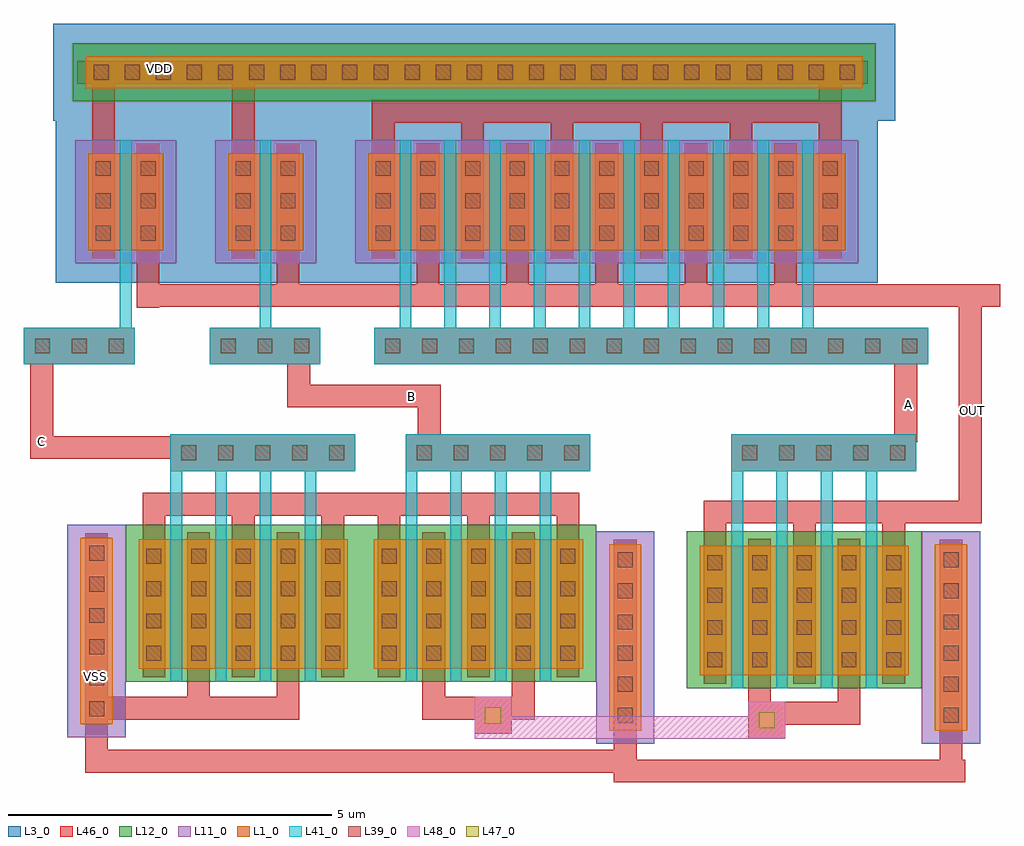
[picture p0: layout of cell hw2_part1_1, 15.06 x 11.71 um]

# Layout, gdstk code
from math import pi, radians
import gdstk
lib = gdstk.Library(unit=1e-6, precision=1e-09)
def R(c, l, rs):  # rectangles x0, y0, x1, y1
    for r in rs: c.add(gdstk.rectangle(r[:2], r[2:], *l))
L1_0 = (1, 0)
L3_0 = (3, 0)
L11_0 = (11, 0)
L12_0 = (12, 0)
L39_0 = (39, 0)
L41_0 = (41, 0)
L46_0 = (46, 0)
L47_0 = (47, 0)
L48_0 = (48, 0)

via1 = lib.new_cell('VIA1')
R(via1, L46_0, [(-0.295,-0.295,0.275,0.275)])
R(via1, L47_0, [(-0.135,-0.135,0.115,0.115)])
R(via1, L48_0, [(-0.295,-0.295,0.275,0.275)])

pmos_body = lib.new_cell('pmos_body')
R(pmos_body, L1_0, [(-0.305,-0.355,0.175,0.145)])
R(pmos_body, L3_0, [(-0.805,-0.855,0.675,0.645)])
R(pmos_body, L12_0, [(-0.505,-0.555,0.375,0.345)])
R(pmos_body, L39_0, [(-0.18,-0.22,0.05,0.01)])
R(pmos_body, L46_0, [(-0.433,-0.28,0.247,0.07)])

mental1_connect = lib.new_cell('mental1_connect')
R(mental1_connect, L46_0, [(0.875,-0.297,1.225,0.108), (-0.505,-0.292,-0.155,0.108), (-0.505,0.108,1.225,0.458)])

finger_connect = lib.new_cell('finger_connect')
R(finger_connect, L39_0, [(-3.01,-1.32,-2.78,-1.09)])
R(finger_connect, L41_0, [(-3.18,-1.49,-2.61,-0.92)])
R(finger_connect, L46_0, [(-3.18,-1.49,-2.61,-0.92)])

nmos_body = lib.new_cell('nmos_body')
R(nmos_body, L1_0, [(-0.22,-0.185,0.26,0.315)])
R(nmos_body, L11_0, [(-0.42,-0.385,0.46,0.515)])
R(nmos_body, L39_0, [(-0.095,-0.05,0.135,0.18)])
R(nmos_body, L46_0, [(-0.348,-0.11,0.332,0.24)])

nmos_small = lib.new_cell('nmos_small')
R(nmos_small, L1_0, [(-3.8,0.175,-2.64,0.675)])
R(nmos_small, L12_0, [(-4,-0.045,-2.44,0.875)])
R(nmos_small, L39_0, [(-3.68,0.325,-3.45,0.555), (-2.99,0.325,-2.76,0.555)])
R(nmos_small, L41_0, [(-3.31,-1.025,-3.13,0.875)])
R(nmos_small, L46_0, [(-3.74,0.073,-3.39,0.808), (-3.05,0.073,-2.7,0.808)])

pmos_small = lib.new_cell('pmos_small')
R(pmos_small, L1_0, [(-0.57,-0.225,0.59,0.275)])
R(pmos_small, L3_0, [(-1.07,-0.725,1.09,0.775)])
R(pmos_small, L11_0, [(-0.77,-0.425,0.79,0.475)])
R(pmos_small, L39_0, [(-0.45,-0.075,-0.22,0.155), (0.24,-0.075,0.47,0.155)])
R(pmos_small, L41_0, [(-0.08,-1.49,0.1,0.475)])
R(pmos_small, L46_0, [(-0.51,-0.347,-0.16,0.428), (0.18,-0.342,0.53,0.423)])

hw2_part1_1 = lib.new_cell('hw2_part1_1')
hw2_part1_1.add(gdstk.FlexPath([(-2.08,-3.918),(-0.255,-3.918)], 0.35, ends="flush", simple_path=True, layer=46, datatype=0))  # L46_0
hw2_part1_1.add(gdstk.FlexPath([(1.795,-0.767),(2.615,-0.767)], 0.35, ends="flush", simple_path=True, layer=46, datatype=0))  # L46_0
hw2_part1_1.add(gdstk.FlexPath([(6.325,-4.735),(-1.935,-4.735),(-1.935,-3.88)], 0.35, ends="flush", simple_path=True, layer=46, datatype=0))  # L46_0
hw2_part1_1.add(gdstk.FlexPath([(10.35,-0.887),(11.725,-0.887)], 0.35, ends="flush", simple_path=True, layer=46, datatype=0))  # L46_0
hw2_part1_1.add(gdstk.FlexPath([(11.55,-1.06),(11.55,2.62)], 0.35, ends="flush", simple_path=True, layer=46, datatype=0))  # L46_0
hw2_part1_1.add(gdstk.FlexPath([(8.57,2.453),(12.01,2.453)], 0.35, ends="flush", simple_path=True, layer=46, datatype=0))  # L46_0
hw2_part1_1.add(gdstk.FlexPath([(11.255,-4.91),(11.255,-4.24)], 0.35, ends="flush", simple_path=True, layer=46, datatype=0))  # L46_0
hw2_part1_1.add(gdstk.FlexPath([(10.235,-4.885),(11.47,-4.885)], 0.35, ends="flush", simple_path=True, layer=46, datatype=0))  # L46_0
hw2_part1_1.add(gdstk.FlexPath([(-1.315,2.453),(3.29,2.453)], 0.35, ends="flush", simple_path=True, layer=46, datatype=0))  # L46_0
hw2_part1_1.add(gdstk.FlexPath([(6.225,-4.373),(6.225,-4.885),(10.725,-4.885)], 0.35, ends="flush", simple_path=True, layer=46, datatype=0))  # L46_0
hw2_part1_1.add(gdstk.FlexPath([(1.185,1.46),(1.185,0.905),(3.2,0.905),(3.2,0.185)], 0.35, ends="flush", simple_path=True, layer=46, datatype=0))  # L46_0
hw2_part1_1.add(gdstk.FlexPath([(-2.78,1.46),(-2.78,0.11),(-0.635,0.11)], 0.35, ends="flush", simple_path=True, layer=46, datatype=0))  # L46_0
hw2_part1_1.add(gdstk.FlexPath([(1.02,2.278),(1.02,3.15)], 0.35, ends="flush", simple_path=True, layer=46, datatype=0))  # L46_0
hw2_part1_1.add(gdstk.FlexPath([(-1.14,2.265),(-1.14,3.11)], 0.35, ends="flush", simple_path=True, layer=46, datatype=0))  # L46_0
hw2_part1_1.add(gdstk.FlexPath([(10.555,0.19),(10.555,1.415)], 0.35, ends="flush", simple_path=True, layer=46, datatype=0))  # L46_0
hw2_part1_1.add(gdstk.FlexPath([(-1.83,4.653),(-1.83,5.778)], 0.35, ends="flush", simple_path=True, layer=46, datatype=0))  # L46_0
hw2_part1_1.add(gdstk.FlexPath([(0.33,4.653),(0.33,5.778)], 0.35, ends="flush", simple_path=True, layer=46, datatype=0))  # L46_0
hw2_part1_1.add(gdstk.FlexPath([(9.39,5.205),(9.39,5.96)], 0.35, ends="flush", simple_path=True, layer=46, datatype=0))  # L46_0
hw2_part1_1.add(gdstk.FlexPath([(3.9,-4.213),(8.695,-4.213)], 0.35, ends="flush", simple_path=True, layer=48, datatype=0))  # L48_0
hw2_part1_1.add(gdstk.Reference(via1, (4.195,-4.018)))
hw2_part1_1.add(gdstk.Reference(via1, (8.42,-4.093)))
r = gdstk.Reference(pmos_body, (-1.8,6.005)); r.repetition = gdstk.Repetition(25, 1, v1=(0.48,0), v2=(0,0.5)); hw2_part1_1.add(r)
r = gdstk.Reference(mental1_connect, (2.82,5.015)); r.repetition = gdstk.Repetition(5, 1, v1=(1.38,0), v2=(0,0.75)); hw2_part1_1.add(r)
r = gdstk.Reference(mental1_connect, (8.37,2.736), rotation=pi); r.repetition = gdstk.Repetition(4, 1, v1=(-1.38,0), v2=(0,-0.75)); hw2_part1_1.add(r)
r = gdstk.Reference(mental1_connect, (7.94,-1.17)); r.repetition = gdstk.Repetition(2, 1, v1=(1.38,0), v2=(0,0.75)); hw2_part1_1.add(r)
r = gdstk.Reference(mental1_connect, (2.91,-1.05)); r.repetition = gdstk.Repetition(2, 1, v1=(1.38,0), v2=(0,0.75)); hw2_part1_1.add(r)
r = gdstk.Reference(mental1_connect, (-0.72,-1.05)); r.repetition = gdstk.Repetition(2, 1, v1=(1.38,0), v2=(0,0.75)); hw2_part1_1.add(r)
hw2_part1_1.add(gdstk.Reference(mental1_connect, (0.69,-3.635), rotation=pi))
hw2_part1_1.add(gdstk.Reference(mental1_connect, (4.32,-3.635), rotation=pi))
hw2_part1_1.add(gdstk.Reference(mental1_connect, (9.35,-3.71), rotation=pi))
r = gdstk.Reference(finger_connect, (2.99,2.88)); r.repetition = gdstk.Repetition(3, 1, v1=(0.57,0), v2=(0,0.57)); hw2_part1_1.add(r)
r = gdstk.Reference(finger_connect, (0.125,2.88)); r.repetition = gdstk.Repetition(3, 1, v1=(0.57,0), v2=(0,0.57)); hw2_part1_1.add(r)
r = gdstk.Reference(finger_connect, (6.015,1.23)); r.repetition = gdstk.Repetition(5, 1, v1=(0.57,0), v2=(0,0.57)); hw2_part1_1.add(r)
r = gdstk.Reference(finger_connect, (2.385,1.23)); r.repetition = gdstk.Repetition(5, 1, v1=(0.57,0), v2=(0,0.57)); hw2_part1_1.add(r)
r = gdstk.Reference(finger_connect, (5.53,2.88)); r.repetition = gdstk.Repetition(15, 1, v1=(0.57,0), v2=(0,0.57)); hw2_part1_1.add(r)
r = gdstk.Reference(finger_connect, (11.045,1.23)); r.repetition = gdstk.Repetition(5, 1, v1=(0.57,0), v2=(0,0.57)); hw2_part1_1.add(r)
r = gdstk.Reference(nmos_body, (-1.87,-3.945), rotation=pi/2); r.repetition = gdstk.Repetition(6, 1, v1=(0,0.48), v2=(-0.5,0)); hw2_part1_1.add(r)
r = gdstk.Reference(nmos_body, (11.32,-4.045), rotation=pi/2); r.repetition = gdstk.Repetition(6, 1, v1=(0,0.48), v2=(-0.5,0)); hw2_part1_1.add(r)
r = gdstk.Reference(nmos_body, (6.29,-4.045), rotation=pi/2); r.repetition = gdstk.Repetition(6, 1, v1=(0,0.48), v2=(-0.5,0)); hw2_part1_1.add(r)
r = gdstk.Reference(nmos_small, (6.805,-1.23), rotation=pi); r.repetition = gdstk.Repetition(4, 4, v1=(-0.69,0), v2=(0,-0.5)); hw2_part1_1.add(r)
r = gdstk.Reference(nmos_small, (1.775,-1.13), rotation=pi); r.repetition = gdstk.Repetition(4, 4, v1=(-0.69,0), v2=(0,-0.5)); hw2_part1_1.add(r)
r = gdstk.Reference(nmos_small, (-1.855,-1.13), rotation=pi); r.repetition = gdstk.Repetition(4, 4, v1=(-0.69,0), v2=(0,-0.5)); hw2_part1_1.add(r)
r = gdstk.Reference(pmos_small, (2.825,3.375)); r.repetition = gdstk.Repetition(10, 3, v1=(0.69,0), v2=(0,0.5)); hw2_part1_1.add(r)
r = gdstk.Reference(pmos_small, (-1.495,3.375)); r.repetition = gdstk.Repetition(1, 3, v1=(0.69,0), v2=(0,0.5)); hw2_part1_1.add(r)
r = gdstk.Reference(pmos_small, (0.665,3.375)); r.repetition = gdstk.Repetition(1, 3, v1=(0.69,0), v2=(0,0.5)); hw2_part1_1.add(r)
hw2_part1_1.add(gdstk.Label('OUT', (11.585,0.675), layer=101, texttype=0))
hw2_part1_1.add(gdstk.Label('A', (10.59,0.775), layer=101, texttype=0))
hw2_part1_1.add(gdstk.Label('B', (2.93,0.89), layer=101, texttype=0))
hw2_part1_1.add(gdstk.Label('C', (-2.79,0.205), layer=101, texttype=0))
hw2_part1_1.add(gdstk.Label('VSS', (-1.945,-3.42), layer=101, texttype=0))
hw2_part1_1.add(gdstk.Label('VDD', (-0.97,5.955), layer=101, texttype=0))

lib.write_gds('hw2_part1_1.gds')
